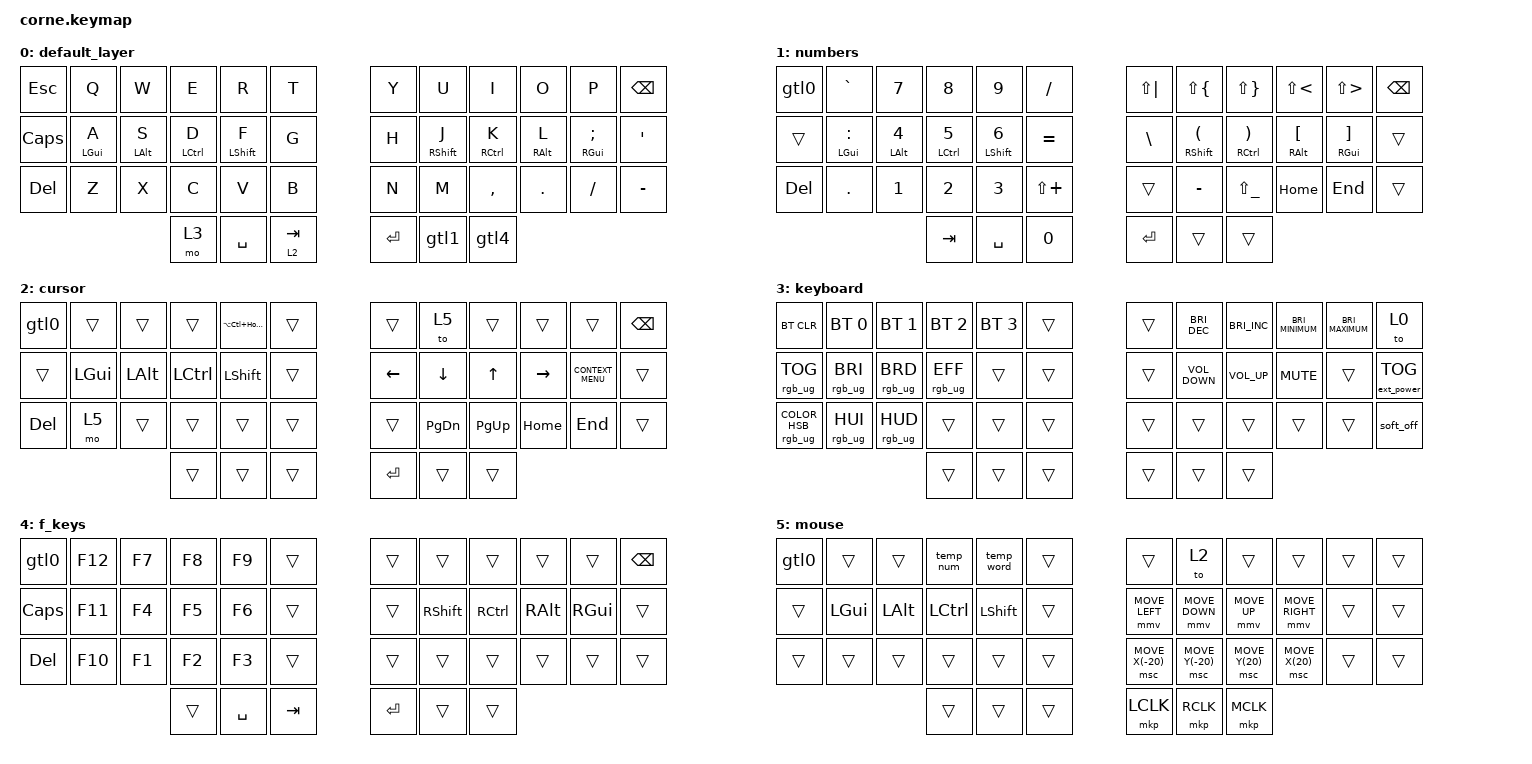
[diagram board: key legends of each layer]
/*
 * Copyright (c) 2020 The ZMK Contributors
 *
 * SPDX-License-Identifier: MIT
 */

#include <behaviors.dtsi>
#include <dt-bindings/zmk/bt.h>
#include <dt-bindings/zmk/ext_power.h>
#include <dt-bindings/zmk/keys.h>
#include <dt-bindings/zmk/pointing.h>
#include <dt-bindings/zmk/rgb.h>
#include "zmk-helpers/key-labels/42.h"

#define KEYS_L LT0 LT1 LT2 LT3 LT4 LT5 LM0 LM1 LM2 LM3 LM4 LM5 LB0 LB1 LB2 LB3 LB4 LB5  // Left-hand keys.
#define KEYS_R RT0 RT1 RT2 RT3 RT4 RT5 RM0 RM1 RM2 RM3 RM4 RM5 RB0 RB1 RB2 RB3 RB4 RB5  // Right-hand keys.
#define THUMBS LH2 LH1 LH0 RH0 RH1 RH2

/ {
    behaviors {
        hm: homerow_mods {
            compatible = "zmk,behavior-hold-tap";
            label = "HOMEROW_MODS";
            #binding-cells = <2>;
            tapping-term-ms = <200>;
            flavor = "tap-preferred";
            bindings = <&kp>, <&kp>;

            quick-tap-ms = <180>;
        };

        thml: timeless_homerow_mods_left {
            compatible = "zmk,behavior-hold-tap";
            label = "THML";
            #binding-cells = <2>;
            tapping-term-ms = <250>;
            flavor = "balanced";
            bindings = <&kp>, <&kp>;

            hold-trigger-key-positions = <KEYS_R THUMBS>;
            hold-trigger-on-release;
            quick-tap-ms = <180>;
        };

        thmr: timeless_homerow_mods_right {
            compatible = "zmk,behavior-hold-tap";
            label = "THMR";
            #binding-cells = <2>;
            tapping-term-ms = <250>;
            flavor = "balanced";
            bindings = <&kp>, <&kp>;

            hold-trigger-key-positions = <KEYS_L THUMBS>;
            hold-trigger-on-release;
            quick-tap-ms = <185>;
        };

        ltq: ltq {
            compatible = "zmk,behavior-hold-tap";
            label = "LTQ";
            bindings = <&mo>, <&kp>;

            #binding-cells = <2>;
            tapping-term-ms = <600>;
            global-quick-tap;
            quick-tap-ms = <400>;
        };

        gtl0: go_to_layer_0 {
            compatible = "zmk,behavior-tap-dance";
            label = "GTL0";
            #binding-cells = <0>;
            bindings = <&kp ESCAPE>, <&to 0>;

            tapping-term-ms = <200>;
        };

        gtl1: go_to_layer_1 {
            compatible = "zmk,behavior-tap-dance";
            label = "GTL1";
            #binding-cells = <0>;
            bindings = <&mo 1>, <&to 1>;

            tapping-term-ms = <200>;
        };

        gtl4: go_to_layer_4 {
            compatible = "zmk,behavior-tap-dance";
            label = "GTL4";
            #binding-cells = <0>;
            bindings = <&mo 4>, <&to 4>;

            tapping-term-ms = <200>;
        };
    };

    combos {
        compatible = "zmk,combos";

        end_key {
            bindings = <&kp END>;
            key-positions = <34 33>;
        };

        home_key {
            bindings = <&kp HOME>;
            key-positions = <31 32>;
        };
    };

    macros {
        temp_num: temp_num {
            compatible = "zmk,behavior-macro";
            #binding-cells = <0>;
            bindings = <&kp N5 &kp N0 &kp N0 &kp N4 &kp N1 &kp N2 &kp N4 &kp N3 &kp N8 &kp N1>;
            label = "TEMP_NUM";
        };

        temp_word: temp_word {
            compatible = "zmk,behavior-macro";
            #binding-cells = <0>;
            bindings = <&kp LS(I) &kp LS(L) &kp O &kp V &kp E &kp LS(A) &kp U &kp T &kp O &kp LS(M) &kp A &kp Y &kp N2 &kp N0 &kp N2 &kp N6 &kp EXCL>;
            label = "TEMP_WORD";
        };
    };

    keymap {
        compatible = "zmk,keymap";

        default_layer {
            bindings = <
&kp ESC       &kp Q       &kp W             &kp E          &kp R           &kp T      &kp Y      &kp U          &kp I          &kp O              &kp P          &kp BSPC
&kp CAPSLOCK  &hm LGUI A  &thml LEFT_ALT S  &thml LCTRL D  &thml LSHIFT F  &kp G      &kp H      &thmr RSHFT J  &thmr RCTRL K  &thmr RIGHT_ALT L  &hm RGUI SEMI  &kp SQT
&kp DELETE    &kp Z       &kp X             &kp C          &kp V           &kp B      &kp N      &kp M          &kp COMMA      &kp DOT            &kp FSLH       &kp MINUS
                                            &mo 3          &kp SPACE       &lt 2 TAB  &kp ENTER  &gtl1          &gtl4
            >;
        };

        numbers {
            bindings = <
&gtl0    &kp GRAVE         &kp N7                   &kp N8          &kp N9                 &kp FSLH      &kp LS(PIPE)  &kp LS(LBRC)                  &kp LS(RBRC)                   &kp LS(LT)                    &kp LS(GT)                &kp BSPC
&trans   &thml LGUI COLON  &thml LEFT_ALT NUMBER_4  &thml LCTRL N5  &thml LSHIFT NUMBER_6  &kp EQUAL     &kp BSLH      &thmr RSHFT LEFT_PARENTHESIS  &thmr RCTRL RIGHT_PARENTHESIS  &thmr RIGHT_ALT LEFT_BRACKET  &thmr RGUI RIGHT_BRACKET  &trans
&kp DEL  &kp DOT           &kp N1                   &kp N2          &kp N3                 &kp LS(PLUS)  &trans        &kp MINUS                     &kp LS(UNDER)                  &kp HOME                      &kp END                   &trans
                                                    &kp TAB         &kp SPACE              &kp N0        &kp RET       &trans                        &trans
            >;
        };

        cursor {
            bindings = <
&gtl0    &trans    &trans    &trans     &kp LA(LC(HOME))  &trans  &trans    &to 5      &trans     &trans     &trans              &kp BSPC
&trans   &kp LGUI  &kp LALT  &kp LCTRL  &kp LSHFT         &trans  &kp LEFT  &kp DOWN   &kp UP     &kp RIGHT  &kp K_CONTEXT_MENU  &trans
&kp DEL  &mo 5     &trans    &trans     &trans            &trans  &trans    &kp PG_DN  &kp PG_UP  &kp HOME   &kp END             &trans
                             &trans     &trans            &trans  &kp RET   &trans     &trans
            >;
        };

        keyboard {
            bindings = <
&bt BT_CLR                      &bt BT_SEL 0     &bt BT_SEL 1     &bt BT_SEL 2     &bt BT_SEL 3  &trans  &trans  &kp C_BRI_DEC      &kp C_BRIGHTNESS_INC  &kp C_BRIGHTNESS_MINIMUM  &kp C_BRIGHTNESS_MAXIMUM  &to 0
&rgb_ug RGB_TOG                 &rgb_ug RGB_BRI  &rgb_ug RGB_BRD  &rgb_ug RGB_EFF  &trans        &trans  &trans  &kp C_VOLUME_DOWN  &kp C_VOLUME_UP       &kp C_MUTE                &trans                    &ext_power EP_TOG
&rgb_ug RGB_COLOR_HSB(0,53,43)  &rgb_ug RGB_HUI  &rgb_ug RGB_HUD  &trans           &trans        &trans  &trans  &trans             &trans                &trans                    &trans                    &soft_off
                                                                  &trans           &trans        &trans  &trans  &trans             &trans
            >;
        };

        f_keys {
            bindings = <
&gtl0     &kp F12  &kp F7  &kp F8  &kp F9     &trans   &trans     &trans     &trans     &trans    &trans    &kp BSPC
&kp CAPS  &kp F11  &kp F4  &kp F5  &kp F6     &trans   &trans     &kp RSHFT  &kp RCTRL  &kp RALT  &kp RGUI  &trans
&kp DEL   &kp F10  &kp F1  &kp F2  &kp F3     &trans   &trans     &trans     &trans     &trans    &trans    &trans
                           &trans  &kp SPACE  &kp TAB  &kp ENTER  &trans     &trans
            >;
        };

        mouse {
            bindings = <
&gtl0   &trans    &trans    &temp_num  &temp_word  &trans  &trans            &to 2             &trans           &trans           &trans  &trans
&trans  &kp LGUI  &kp LALT  &kp LCTRL  &kp LSHFT   &trans  &mmv MOVE_LEFT    &mmv MOVE_DOWN    &mmv MOVE_UP     &mmv MOVE_RIGHT  &trans  &trans
&trans  &trans    &trans    &trans     &trans      &trans  &msc MOVE_X(-20)  &msc MOVE_Y(-20)  &msc MOVE_Y(20)  &msc MOVE_X(20)  &trans  &trans
                            &trans     &trans      &trans  &mkp LCLK         &mkp RCLK         &mkp MCLK
            >;
        };
    };
};
